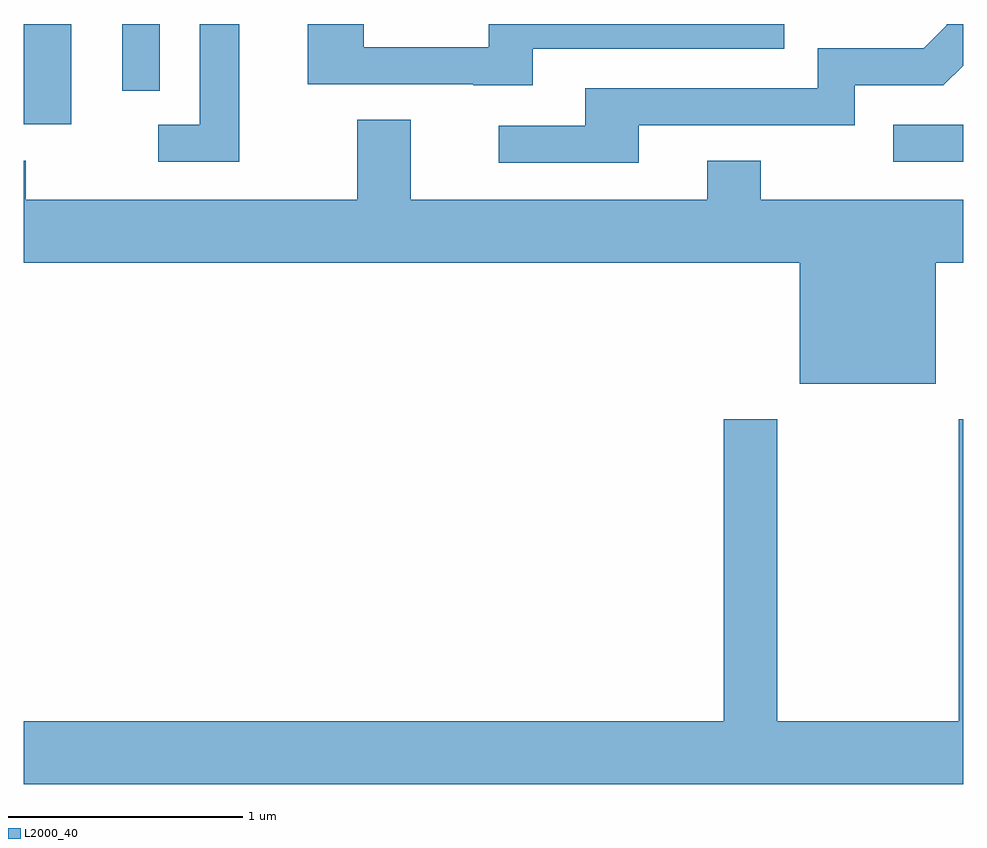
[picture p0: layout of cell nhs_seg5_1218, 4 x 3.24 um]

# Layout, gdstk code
import gdstk
lib = gdstk.Library(unit=1e-6, precision=1e-09)
def R(c, l, rs):  # rectangles x0, y0, x1, y1
    for r in rs: c.add(gdstk.rectangle(r[:2], r[2:], *l))
def P(c, l, *ps):  # polygons
    for p in ps: c.add(gdstk.Polygon(p, *l))
L2000_40 = (2000, 40)

nhs_seg5_1218 = lib.new_cell('nhs_seg5_1218')
R(nhs_seg5_1218, L2000_40, [(225.313,1419.486,225.611,1419.644), (221.611,1419.646,221.814,1420.072), (222.031,1419.788,222.189,1420.072)])
P(nhs_seg5_1218, L2000_40, [(224.229,1419.641),(225.149,1419.641),(225.149,1419.811),(225.527,1419.811),(225.611,1419.895),(225.611,1420.072),(225.541,1420.072),(225.541,1420.067),(225.444,1419.969),(224.991,1419.969),(224.991,1419.799),(224.001,1419.799),(224.001,1419.639),(223.633,1419.639),(223.633,1419.481),(224.229,1419.481)],
  [(223.779,1419.966),(224.848,1419.966),(224.848,1420.072),(223.591,1420.072),(223.591,1419.974),(223.059,1419.974),(223.059,1420.072),(222.821,1420.072),(222.821,1419.816),(223.525,1419.816),(223.525,1419.811),(223.779,1419.811)],
  [(222.529,1420.072),(222.361,1420.072),(222.361,1419.644),(222.183,1419.644),(222.183,1419.486),(222.529,1419.486)],
  [(225.494,1419.056),(225.611,1419.056),(225.611,1419.324),(224.749,1419.324),(224.749,1419.489),(224.521,1419.489),(224.521,1419.324),(223.259,1419.324),(223.259,1419.664),(223.031,1419.664),(223.031,1419.324),(221.619,1419.324),(221.619,1419.489),(221.611,1419.489),(221.611,1419.056),(224.916,1419.056),(224.916,1418.541),(225.494,1418.541)],
  [(225.611,1418.389),(225.591,1418.389),(225.591,1417.104),(224.819,1417.104),(224.819,1418.389),(224.591,1418.389),(224.591,1417.104),(221.611,1417.104),(221.611,1416.836),(225.611,1416.836)])

lib.write_gds('nhs_seg5_1218.gds')
